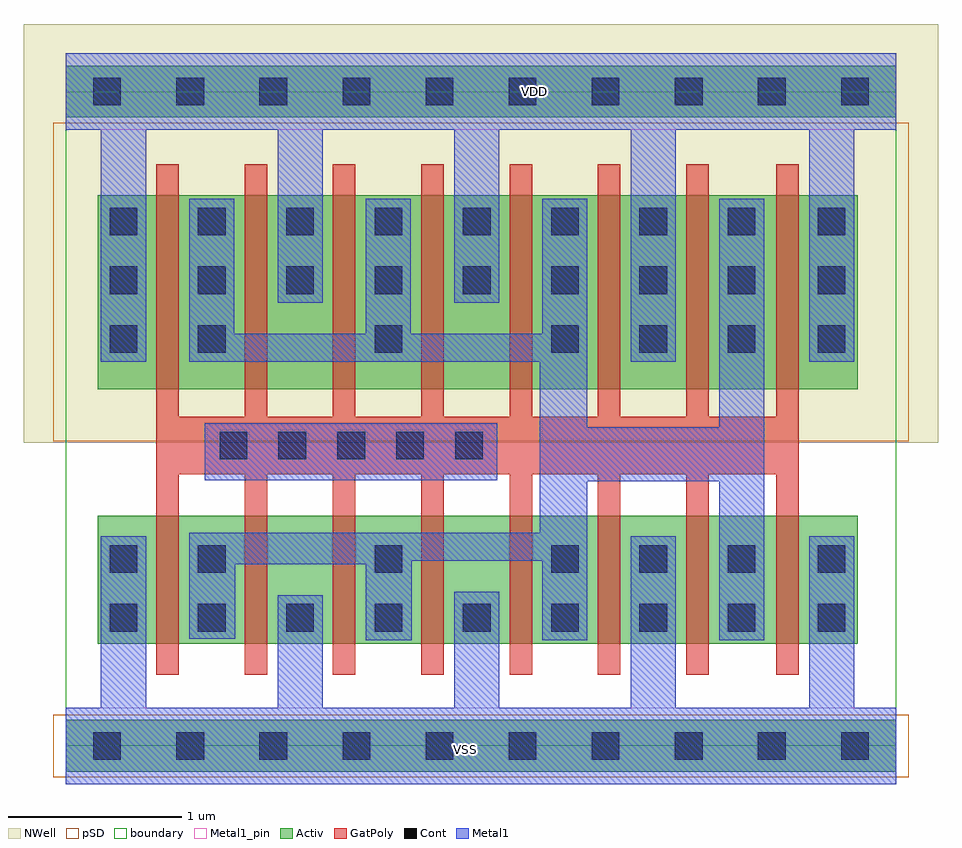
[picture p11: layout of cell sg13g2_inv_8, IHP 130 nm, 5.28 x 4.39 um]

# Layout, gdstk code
import gdstk
lib = gdstk.Library(unit=1e-6, precision=1e-09)
def R(c, l, rs):  # rectangles x0, y0, x1, y1
    for r in rs: c.add(gdstk.rectangle(r[:2], r[2:], *l))
def A(c, l, x, y, w, h, nx, ny, dx, dy):  # array of equal rectangles
    R(c, l, [(x+i*dx, y+j*dy, x+i*dx+w, y+j*dy+h) for i in range(nx) for j in range(ny)])
def P(c, l, *ps):  # polygons
    for p in ps: c.add(gdstk.Polygon(p, *l))
Activ = (1, 0)
GatPoly = (5, 0)
Cont = (6, 0)
Metal1 = (8, 0)
Metal1_pin = (8, 2)
pSD = (14, 0)
NWell = (31, 0)
boundary = (189, 4)

sg13g2_inv_8 = lib.new_cell('sg13g2_inv_8')
R(sg13g2_inv_8, Activ, [(-4.79,81.345,0.01,81.645), (-4.605,82.085,-0.215,82.825), (-4.605,83.555,-0.215,84.675), (-4.79,85.125,0.01,85.425)])
P(sg13g2_inv_8, GatPoly, [(-4.265,81.905),(-4.265,84.855),(-4.135,84.855),(-4.135,83.395),(-3.755,83.395),(-3.755,84.855),(-3.625,84.855),(-3.625,83.395),(-3.245,83.395),(-3.245,84.855),(-3.115,84.855),(-3.115,83.395),(-2.735,83.395),(-2.735,84.855),(-2.605,84.855),(-2.605,83.395),(-2.225,83.395),(-2.225,84.855),(-2.095,84.855),(-2.095,83.395),(-1.715,83.395),(-1.715,84.855),(-1.585,84.855),(-1.585,83.395),(-1.205,83.395),(-1.205,84.855),(-1.075,84.855),(-1.075,83.395),(-0.685,83.395),(-0.685,84.855),(-0.555,84.855),(-0.555,81.905),(-0.685,81.905),(-0.685,83.065),(-1.075,83.065),(-1.075,81.905),(-1.205,81.905),(-1.205,83.065),(-1.585,83.065),(-1.585,81.905),(-1.715,81.905),(-1.715,83.065),(-2.095,83.065),(-2.095,81.905),(-2.225,81.905),(-2.225,83.065),(-2.605,83.065),(-2.605,81.905),(-2.735,81.905),(-2.735,83.065),(-3.115,83.065),(-3.115,81.905),(-3.245,81.905),(-3.245,83.065),(-3.625,83.065),(-3.625,81.905),(-3.755,81.905),(-3.755,83.065),(-4.135,83.065),(-4.135,81.905)])
A(sg13g2_inv_8, Cont, -4.535, 82.155, 0.16, 0.16, 8, 2, 0.51, 1.95)
A(sg13g2_inv_8, Cont, -4.025, 82.495, 0.16, 0.16, 3, 2, 1.02, 1.27)
A(sg13g2_inv_8, Cont, -3.9, 83.15, 0.16, 0.16, 5, 1, 0.34, 0)
A(sg13g2_inv_8, Cont, -0.445, 83.765, 0.16, 0.16, 1, 3, 0, 0.34)
A(sg13g2_inv_8, Cont, -4.535, 84.445, 0.16, 0.16, 8, 1, 0.51, 0)
R(sg13g2_inv_8, Cont, [(-4.63,81.415,-4.47,81.575), (-4.63,81.415,-4.47,81.575), (-4.15,81.415,-3.99,81.575), (-4.15,81.415,-3.99,81.575), (-3.67,81.415,-3.51,81.575), (-3.67,81.415,-3.51,81.575), (-3.19,81.415,-3.03,81.575), (-3.19,81.415,-3.03,81.575), (-2.71,81.415,-2.55,81.575), (-2.71,81.415,-2.55,81.575), (-2.23,81.415,-2.07,81.575), (-2.23,81.415,-2.07,81.575), (-1.75,81.415,-1.59,81.575), (-1.75,81.415,-1.59,81.575), (-1.27,81.415,-1.11,81.575), (-1.27,81.415,-1.11,81.575), (-0.79,81.415,-0.63,81.575), (-0.79,81.415,-0.63,81.575), (-0.31,81.415,-0.15,81.575), (-0.31,81.415,-0.15,81.575), (-0.445,82.155,-0.285,82.315), (-4.535,82.495,-4.375,82.655), (-1.475,82.495,-1.315,82.655), (-0.965,82.495,-0.805,82.655), (-0.445,82.495,-0.285,82.655), (-4.535,83.765,-4.375,83.925), (-1.475,83.765,-1.315,83.925), (-0.965,83.765,-0.805,83.925), (-4.63,85.195,-4.47,85.355), (-4.63,85.195,-4.47,85.355), (-4.15,85.195,-3.99,85.355), (-4.15,85.195,-3.99,85.355), (-3.67,85.195,-3.51,85.355), (-3.67,85.195,-3.51,85.355), (-3.19,85.195,-3.03,85.355), (-3.19,85.195,-3.03,85.355), (-2.71,85.195,-2.55,85.355), (-2.71,85.195,-2.55,85.355), (-2.23,85.195,-2.07,85.355), (-2.23,85.195,-2.07,85.355), (-1.75,85.195,-1.59,85.355), (-1.75,85.195,-1.59,85.355), (-1.27,85.195,-1.11,85.355), (-1.27,85.195,-1.11,85.355), (-0.79,85.195,-0.63,85.355), (-0.79,85.195,-0.63,85.355), (-0.31,85.195,-0.15,85.355), (-0.31,85.195,-0.15,85.355)])
R(sg13g2_inv_8, Metal1, [(-3.985,83.03,-2.295,83.36)])
P(sg13g2_inv_8, Metal1, [(-4.79,81.275),(-4.79,81.715),(-4.585,81.715),(-4.585,82.705),(-4.325,82.705),(-4.325,81.715),(-3.565,81.715),(-3.565,82.365),(-3.305,82.365),(-3.305,81.715),(-2.545,81.715),(-2.545,82.385),(-2.285,82.385),(-2.285,81.715),(-1.525,81.715),(-1.525,82.705),(-1.265,82.705),(-1.265,81.715),(-0.495,81.715),(-0.495,82.705),(-0.235,82.705),(-0.235,81.715),(0.01,81.715),(0.01,81.275)],
  [(-4.585,83.715),(-4.585,85.055),(-4.79,85.055),(-4.79,85.495),(0.01,85.495),(0.01,85.055),(-0.235,85.055),(-0.235,83.715),(-0.495,83.715),(-0.495,85.055),(-1.265,85.055),(-1.265,83.715),(-1.525,83.715),(-1.525,85.055),(-2.285,85.055),(-2.285,84.055),(-2.545,84.055),(-2.545,85.055),(-3.305,85.055),(-3.305,84.055),(-3.565,84.055),(-3.565,85.055),(-4.325,85.055),(-4.325,83.715)],
  [(-3.055,82.105),(-3.055,82.545),(-3.81,82.545),(-3.81,82.115),(-4.075,82.115),(-4.075,82.725),(-2.05,82.725),(-2.05,83.715),(-4.075,83.715),(-4.075,84.655),(-3.815,84.655),(-3.815,83.875),(-3.055,83.875),(-3.055,84.655),(-2.795,84.655),(-2.795,83.875),(-2.035,83.875),(-2.035,84.655),(-1.775,84.655),(-1.775,83.335),(-1.015,83.335),(-1.015,84.655),(-0.755,84.655),(-0.755,82.105),(-1.015,82.105),(-1.015,83.025),(-1.775,83.025),(-1.775,82.105),(-2.035,82.105),(-2.035,82.565),(-2.79,82.565),(-2.79,82.105)])
R(sg13g2_inv_8, Metal1_pin, [(-4.79,81.275,0.01,81.715), (-4.79,85.055,0.01,85.495)])
R(sg13g2_inv_8, pSD, [(-4.86,81.315,0.08,81.675), (-4.86,83.255,0.08,85.095)])
R(sg13g2_inv_8, NWell, [(-5.03,83.245,0.25,85.665)])
R(sg13g2_inv_8, boundary, [(-4.79,81.495,0.01,85.275)])
sg13g2_inv_8.add(gdstk.Label('VSS', (-2.48,81.475), layer=8, texttype=25))
sg13g2_inv_8.add(gdstk.Label('VDD', (-2.08,85.275), layer=8, texttype=25))

lib.write_gds('sg13g2_inv_8.gds')
